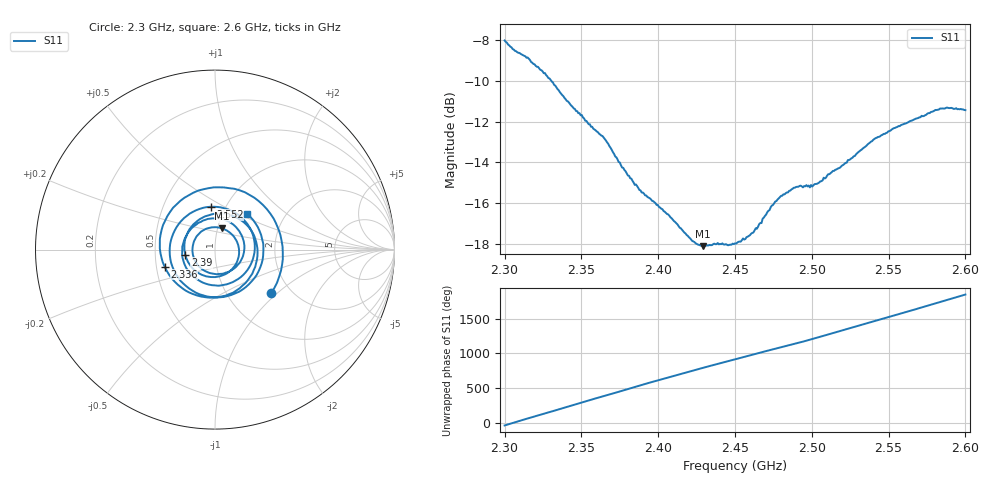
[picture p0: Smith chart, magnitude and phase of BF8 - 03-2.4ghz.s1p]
! NanoVNA-App
! Date: 2026-05-22 16:36:30
! Start: 2.3GHz Stop: 2.6GHz Points: 401
! S-Parameter data: F S11
# Hz S RI R 50
!  Frequency  S11_Real  S11_Imag
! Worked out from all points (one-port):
!   401 points, 2.3 GHz to 2.6 GHz, reference 50 ohm
!   lowest |S11| = -18.1 dB at 2.429 GHz (marker M1), VSWR 1.28, Z = 52.7 + j12.6 ohm
!   |S11| at or under -10 dB: 2.33 GHz to end of sweep
!   S11 on the Smith chart (normalised r, x): 2.3 GHz: 1.59, -0.92; 2.336 GHz: 0.55, -0.12; 2.39 GHz: 0.71, -0.04; 2.552 GHz: 0.85, +0.43; 2.6 GHz: 1.31, +0.56
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2.3e9  0.3136 -0.243
2.30825e9  0.3528 0.1156
2.318e9  0.05 0.3463
2.32775e9  -0.2658 0.1858
2.336e9  -0.2806 -0.0951
2.3375e9  -0.2557 -0.1402
2.34725e9  0.0137 -0.266
2.35775e9  0.2294 -0.0746
2.3675e9  0.1606 0.1524
2.375e9  -0.00609 0.1993
2.39e9  -0.1657 -0.0293
2.40125e9  -0.0231 -0.1529
2.4125e9  0.1214 -0.0713
2.429e9  0.0404 0.1176
2.45e9  -0.123 -0.0289
2.46725e9  0.0616 -0.1276
2.47775e9  0.1613 -0.0146
2.4875e9  0.1104 0.1318
2.49725e9  -0.0528 0.166
2.5085e9  -0.1822 0.00359
2.525e9  0.0509 -0.1964
2.5385e9  0.2205 0.0406
2.552e9  -0.0249 0.2388
2.5625e9  -0.24 0.0696
2.57e9  -0.2181 -0.1362
2.57975e9  0.0248 -0.2658
2.59025e9  0.2595 -0.0785
2.6e9  0.1806 0.1978
